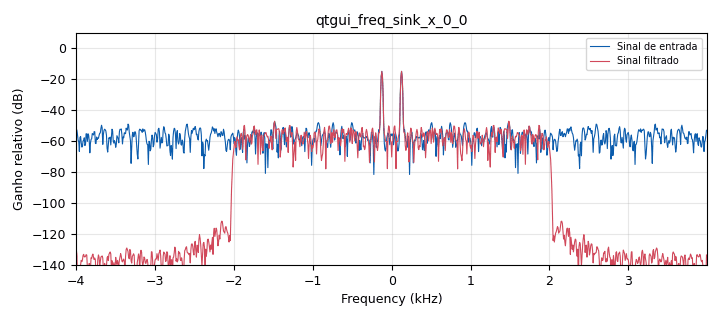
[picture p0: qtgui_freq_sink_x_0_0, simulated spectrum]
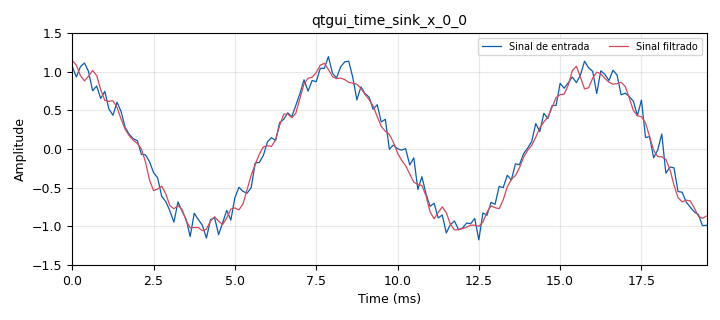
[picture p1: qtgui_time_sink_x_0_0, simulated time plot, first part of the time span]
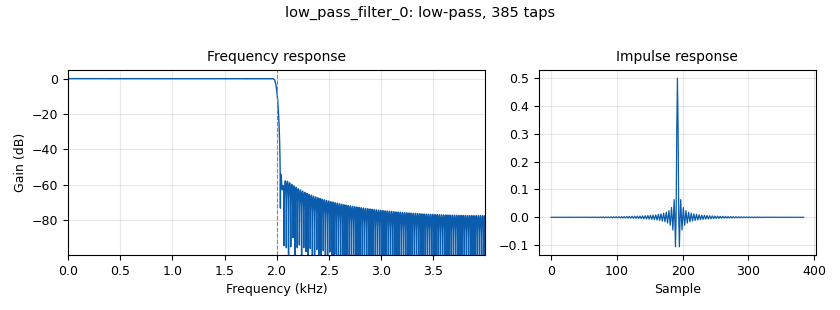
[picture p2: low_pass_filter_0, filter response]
options:
  parameters:
    author: Leocarlos B S Lima/Edson P da Silva
    category: Custom
    description: Experimento para Laboratório de Princípios de Comunicações. Departamento de Engenharia Elétrica - DEE da Universidade Federal de Campina Grande - UFCG.
    generate_options: qt_gui
    id: Labo2_2
    output_language: python
    title: Relacao sinal-ruido
  states: {}

blocks:
- name: freqDeCorte
  id: variable_qtgui_range
  parameters:
    label: Frequencia de corte
    start: '100'
    step: '1'
    stop: '4000'
    value: '2000'
  states: {}
- name: samp_rate
  id: variable
  parameters:
    value: '8000'
  states: {}
- name: analog_noise_source_x_0
  id: analog_noise_source_x
  parameters:
    amp: '0.1'
    noise_type: analog.GR_GAUSSIAN
    seed: '0'
    type: float
  states: {}
- name: analog_sig_source_x_0
  id: analog_sig_source_x
  parameters:
    amp: '1'
    freq: '125'
    offset: '0'
    phase: '0'
    samp_rate: samp_rate
    type: float
    waveform: analog.GR_COS_WAVE
  states: {}
- name: blocks_add_xx_0
  id: blocks_add_xx
  parameters:
    type: float
  states: {}
- name: blocks_multiply_xx_0
  id: blocks_multiply_xx
  parameters:
    type: float
  states: {}
- name: blocks_multiply_xx_0_0
  id: blocks_multiply_xx
  parameters:
    type: float
  states: {}
- name: blocks_multiply_xx_0_1
  id: blocks_multiply_xx
  parameters:
    type: float
  states: {}
- name: blocks_multiply_xx_0_2
  id: blocks_multiply_xx
  parameters:
    type: float
  states: {}
- name: blocks_nlog10_ff_0_0
  id: blocks_nlog10_ff
  parameters:
    k: '0'
    n: '10'
  states: {}
- name: blocks_nlog10_ff_0_0_0
  id: blocks_nlog10_ff
  parameters:
    k: '0'
    n: '10'
  states: {}
- name: blocks_nlog10_ff_0_1
  id: blocks_nlog10_ff
  parameters:
    k: '0'
    n: '10'
  states: {}
- name: blocks_nlog10_ff_0_1_0
  id: blocks_nlog10_ff
  parameters:
    k: '0'
    n: '10'
  states: {}
- name: blocks_rms_xx_0
  id: blocks_rms_xx
  parameters:
    alpha: '0.00001'
    type: float
  states: {}
- name: blocks_rms_xx_0_0
  id: blocks_rms_xx
  parameters:
    alpha: '0.00001'
    type: float
  states: {}
- name: blocks_rms_xx_0_1
  id: blocks_rms_xx
  parameters:
    alpha: '0.00001'
    type: float
  states: {}
- name: blocks_rms_xx_0_1_0
  id: blocks_rms_xx
  parameters:
    alpha: '0.00001'
    type: float
  states: {}
- name: blocks_sub_xx_0
  id: blocks_sub_xx
  parameters:
    type: float
  states: {}
- name: blocks_sub_xx_0_0
  id: blocks_sub_xx
  parameters:
    type: float
  states: {}
- name: blocks_throttle_0
  id: blocks_throttle
  parameters:
    samples_per_second: samp_rate
    type: float
  states: {}
- name: low_pass_filter_0
  id: low_pass_filter
  parameters:
    cutoff_freq: freqDeCorte
    decim: '1'
    gain: '1'
    samp_rate: samp_rate
    type: fir_filter_fff
    width: '50'
    win: window.WIN_HAMMING
  states: {}
- name: low_pass_filter_0_0
  id: low_pass_filter
  parameters:
    cutoff_freq: freqDeCorte
    decim: '1'
    gain: '1'
    samp_rate: samp_rate
    type: fir_filter_fff
    width: '50'
    win: window.WIN_HAMMING
  states: {}
- name: low_pass_filter_0_0_0
  id: low_pass_filter
  parameters:
    cutoff_freq: freqDeCorte
    decim: '1'
    gain: '1'
    samp_rate: samp_rate
    type: fir_filter_fff
    width: '50'
    win: window.WIN_HAMMING
  states: {}
- name: qtgui_freq_sink_x_0_0
  id: qtgui_freq_sink_x
  parameters:
    bw: samp_rate
    fc: '0'
    fftsize: '1024'
    grid: 'True'
    gui_hint: 0,0,2,4
    label: Ganho relativo
    label1: Sinal de entrada
    label2: Sinal filtrado
    nconnections: '2'
    showports: 'True'
    type: float
  states: {}
- name: qtgui_number_sink_0
  id: qtgui_number_sink
  parameters:
    avg: '0.1'
    graph_type: qtgui.NUM_GRAPH_NONE
    gui_hint: 0,4,1,1
    name: SNR entrada do filtro (dB)
    type: float
  states: {}
- name: qtgui_number_sink_0_0
  id: qtgui_number_sink
  parameters:
    avg: '0.1'
    graph_type: qtgui.NUM_GRAPH_NONE
    gui_hint: 1,4,1,1
    name: SNR saida do filtro (dB)
    type: float
  states: {}
- name: qtgui_time_sink_x_0_0
  id: qtgui_time_sink_x
  parameters:
    grid: 'True'
    gui_hint: 3,0,2,4
    label1: Sinal de entrada
    label2: Sinal filtrado
    nconnections: '2'
    size: '1024'
    srate: samp_rate
    type: float
    ymax: '1.5'
    ymin: '-1.5'
  states: {}

connections:
- [analog_noise_source_x_0, '0', blocks_add_xx_0, '1']
- [analog_noise_source_x_0, '0', blocks_rms_xx_0_1, '0']
- [analog_noise_source_x_0, '0', low_pass_filter_0_0_0, '0']
- [analog_sig_source_x_0, '0', blocks_rms_xx_0, '0']
- [analog_sig_source_x_0, '0', blocks_throttle_0, '0']
- [analog_sig_source_x_0, '0', low_pass_filter_0_0, '0']
- [blocks_add_xx_0, '0', low_pass_filter_0, '0']
- [blocks_add_xx_0, '0', qtgui_freq_sink_x_0_0, '0']
- [blocks_add_xx_0, '0', qtgui_time_sink_x_0_0, '0']
- [blocks_multiply_xx_0, '0', blocks_nlog10_ff_0_1, '0']
- [blocks_multiply_xx_0_0, '0', blocks_nlog10_ff_0_0, '0']
- [blocks_multiply_xx_0_1, '0', blocks_nlog10_ff_0_1_0, '0']
- [blocks_multiply_xx_0_2, '0', blocks_nlog10_ff_0_0_0, '0']
- [blocks_nlog10_ff_0_0, '0', blocks_sub_xx_0, '1']
- [blocks_nlog10_ff_0_0_0, '0', blocks_sub_xx_0_0, '1']
- [blocks_nlog10_ff_0_1, '0', blocks_sub_xx_0, '0']
- [blocks_nlog10_ff_0_1_0, '0', blocks_sub_xx_0_0, '0']
- [blocks_rms_xx_0, '0', blocks_multiply_xx_0, '0']
- [blocks_rms_xx_0, '0', blocks_multiply_xx_0, '1']
- [blocks_rms_xx_0_0, '0', blocks_multiply_xx_0_1, '0']
- [blocks_rms_xx_0_0, '0', blocks_multiply_xx_0_1, '1']
- [blocks_rms_xx_0_1, '0', blocks_multiply_xx_0_0, '0']
- [blocks_rms_xx_0_1, '0', blocks_multiply_xx_0_0, '1']
- [blocks_rms_xx_0_1_0, '0', blocks_multiply_xx_0_2, '0']
- [blocks_rms_xx_0_1_0, '0', blocks_multiply_xx_0_2, '1']
- [blocks_sub_xx_0, '0', qtgui_number_sink_0, '0']
- [blocks_sub_xx_0_0, '0', qtgui_number_sink_0_0, '0']
- [blocks_throttle_0, '0', blocks_add_xx_0, '0']
- [low_pass_filter_0, '0', qtgui_freq_sink_x_0_0, '1']
- [low_pass_filter_0, '0', qtgui_time_sink_x_0_0, '1']
- [low_pass_filter_0_0, '0', blocks_rms_xx_0_0, '0']
- [low_pass_filter_0_0_0, '0', blocks_rms_xx_0_1_0, '0']

metadata:
  file_format: 1
